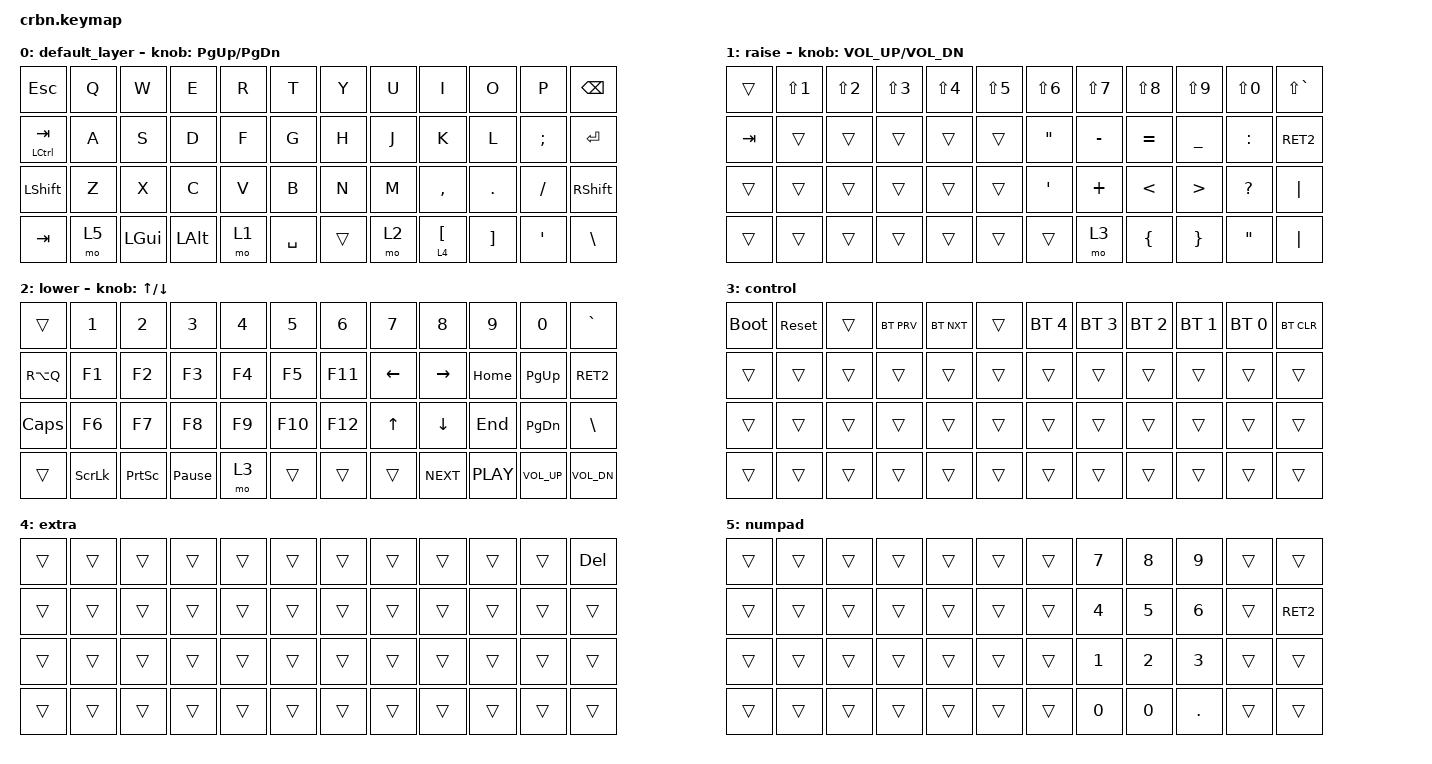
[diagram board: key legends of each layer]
/*
 * Copyright (c) 2020 The ZMK Contributors
 *
 * SPDX-License-Identifier: MIT
 */

#include <behaviors.dtsi>
#include <dt-bindings/zmk/keys.h>
#include <dt-bindings/zmk/bt.h>

/ {
	keymap {
		compatible = "zmk,keymap";

		default_layer {
			bindings = <
				&kp ESC       &kp Q  &kp W    &kp E    &kp R &kp T     &kp Y   &kp U  &kp I       &kp O    &kp P     &kp BACKSPACE 
				&mt LCTRL TAB &kp A  &kp S    &kp D    &kp F &kp G     &kp H   &kp J  &kp K       &kp L    &kp SEMI  &kp RET
				&kp LSHFT     &kp Z  &kp X    &kp C    &kp V &kp B     &kp N   &kp M  &kp COMMA   &kp DOT  &kp SLASH &kp RSHIFT
				&kp TAB       &mo 5  &kp LGUI &kp LALT &mo 1 &kp SPACE &trans  &mo 2  &lt 4 LBKT  &kp RBKT &kp SQT   &kp BACKSLASH
			>;

			sensor-bindings = <&inc_dec_kp PAGE_UP PAGE_DOWN>;
		};

		raise {
			bindings = <
				&trans  &kp LS(N1) &kp LS(N2) &kp LS(N3) &kp LS(N4) &kp LS(N5) &kp LS(N6) &kp LS(N7) &kp LS(N8)   &kp LS(N9)   &kp LS(N0)  &kp LS(GRAVE)
				&kp TAB &trans     &trans     &trans     &trans     &trans     &kp DQT    &kp MINUS &kp EQUAL    &kp UNDER    &kp COLON   &kp RET2
				&trans	&trans     &trans     &trans     &trans     &trans     &kp SQT    &kp PLUS  &kp LT       &kp GT       &kp QMARK   &kp PIPE
				&trans  &trans     &trans     &trans     &trans     &trans     &trans     &mo 3     &kp LBRC     &kp RBRC     &kp DQT     &kp PIPE
			>;

			sensor-bindings = <&inc_dec_kp C_VOL_UP C_VOL_DN>;
		};

		lower {
			bindings = <
				&trans    &kp N1   &kp N2    &kp N3          &kp N4  &kp N5  &kp N6  &kp N7    &kp N8     &kp N9     &kp N0       &kp GRAVE
				&kp RA(Q) &kp F1   &kp F2    &kp F3          &kp F4  &kp F5  &kp F11 &kp LEFT  &kp RIGHT  &kp HOME   &kp PG_UP    &kp RET2
				&kp CAPS  &kp F6   &kp F7    &kp F8          &kp F9  &kp F10 &kp F12 &kp UP    &kp DOWN   &kp END    &kp PG_DN    &kp BACKSLASH
				&trans    &kp SLCK &kp PSCRN &kp PAUSE_BREAK &mo 3   &trans  &trans  &trans    &kp C_NEXT &kp C_PLAY &kp C_VOL_UP &kp C_VOL_DN
			>;
			sensor-bindings = <&inc_dec_kp UP DOWN>;

		};

		control {
			bindings = <
				&bootloader &sys_reset &trans &bt BT_PRV &bt BT_NXT &trans &bt BT_SEL 4 &bt BT_SEL 3 &bt BT_SEL 2 &bt BT_SEL 1 &bt BT_SEL 0 &bt BT_CLR
				&trans &trans &trans &trans &trans &trans &trans &trans &trans &trans &trans &trans
				&trans &trans &trans &trans &trans &trans &trans &trans &trans &trans &trans &trans
				&trans &trans &trans &trans &trans &trans &trans &trans &trans &trans &trans &trans
			>;
		};

		extra {
			bindings = <
				&trans &trans &trans &trans &trans &trans &trans &trans &trans &trans &trans &kp DEL
				&trans &trans &trans &trans &trans &trans &trans &trans &trans &trans &trans &trans
				&trans &trans &trans &trans &trans &trans &trans &trans &trans &trans &trans &trans
				&trans &trans &trans &trans &trans &trans &trans &trans &trans &trans &trans &trans
			>;
		};

		numpad {
			bindings = <
				&trans &trans &trans &trans &trans &trans &trans &kp N7 &kp N8 &kp N9  &trans &trans
				&trans &trans &trans &trans &trans &trans &trans &kp N4 &kp N5 &kp N6  &trans &kp RET2
				&trans &trans &trans &trans &trans &trans &trans &kp N1 &kp N2 &kp N3  &trans &trans
				&trans &trans &trans &trans &trans &trans &trans &kp N0 &kp N0 &kp DOT &trans &trans
			>;
		};
	};
};
